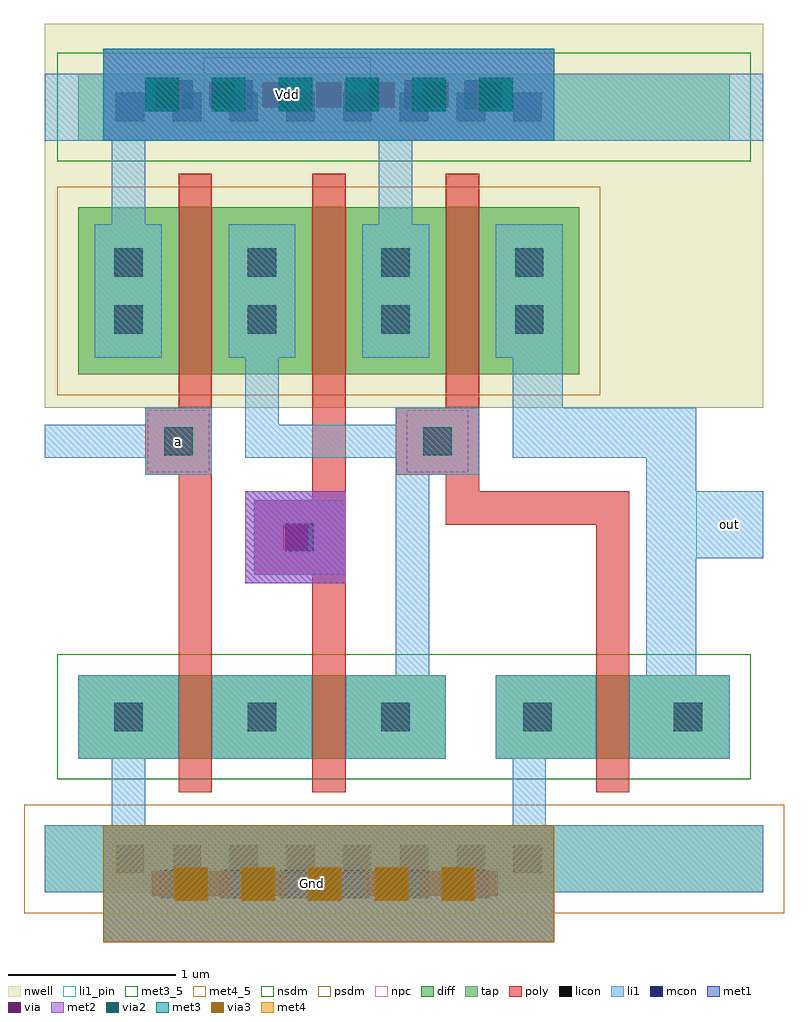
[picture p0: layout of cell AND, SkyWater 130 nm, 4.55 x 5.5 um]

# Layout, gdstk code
import gdstk
lib = gdstk.Library(unit=1e-6, precision=1e-09)
def R(c, l, rs):  # rectangles x0, y0, x1, y1
    for r in rs: c.add(gdstk.rectangle(r[:2], r[2:], *l))
def A(c, l, x, y, w, h, nx, ny, dx, dy):  # array of equal rectangles
    R(c, l, [(x+i*dx, y+j*dy, x+i*dx+w, y+j*dy+h) for i in range(nx) for j in range(ny)])
nwell = (64, 20)
diff = (65, 20)
tap = (65, 44)
poly = (66, 20)
licon = (66, 44)
li1_pin = (67, 16)
li1 = (67, 20)
mcon = (67, 44)
met1 = (68, 20)
via = (68, 44)
met2 = (69, 20)
via2 = (69, 44)
met3_5 = (70, 5)
met3 = (70, 20)
via3 = (70, 44)
met4_5 = (71, 5)
met4 = (71, 20)
nsdm = (93, 44)
psdm = (94, 20)
npc = (95, 20)

and_ = lib.new_cell('AND')
R(and_, nwell, [(-14.5,10.7,-10.2,13)])
R(and_, diff, [(-14.3,8.6,-12.1,9.1), (-11.8,8.6,-10.4,9.1), (-14.3,10.9,-11.3,11.9)])
R(and_, tap, [(-14.5,7.8,-10.2,8.2), (-14.3,12.3,-10.4,12.7)])
R(and_, poly, [(-13.7,8.4,-13.5,10.3), (-12.9,8.4,-12.7,9.7), (-11.2,8.4,-11,10), (-13.25,9.7,-12.7,10.15), (-12.1,10,-11,10.2), (-12.9,10.15,-12.7,12.1), (-12.1,10.2,-11.9,10.3), (-13.9,10.3,-13.5,10.7), (-12.4,10.3,-11.9,10.7), (-13.7,10.7,-13.5,12.1), (-12.1,10.7,-11.9,12.1)])
A(and_, licon, -14.075, 7.915, 0.17, 0.17, 8, 2, 0.34, 4.5)
A(and_, licon, -14.085, 8.765, 0.17, 0.17, 3, 1, 0.8, 0)
A(and_, licon, -14.085, 11.145, 0.17, 0.17, 4, 2, 0.8, 0.34)
R(and_, licon, [(-11.635,8.765,-11.465,8.935), (-10.735,8.765,-10.565,8.935), (-13.06,9.84,-12.89,10.01), (-13.785,10.415,-13.615,10.585), (-12.235,10.415,-12.065,10.585)])
R(and_, li1_pin, [(-10.6,9.8,-10.2,10.2), (-13.9,10.3,-13.5,10.7)])
A(and_, li1, -14.3, 8.6, 0.6, 0.5, 3, 1, 0.8, 0)
A(and_, li1, -14.2, 11, 0.4, 0.8, 4, 1, 0.8, 0)
R(and_, li1, [(-14.15,7.5,-11.45,7.8), (-14.5,7.8,-10.2,8.2), (-14.1,8.2,-13.9,8.6), (-11.7,8.2,-11.5,8.6), (-11.8,8.6,-11.2,9.1), (-11,8.6,-10.4,9.1), (-12.4,9.1,-12.2,10.3), (-10.9,9.1,-10.6,9.8), (-13.25,9.7,-12.7,10.15), (-10.9,9.8,-10.2,10.2), (-10.9,10.2,-10.6,10.4), (-13.9,10.3,-13.5,10.4), (-12.4,10.3,-11.9,10.4), (-14.5,10.4,-13.5,10.6), (-13.3,10.4,-11.9,10.6), (-11.7,10.4,-10.6,10.7), (-13.9,10.6,-13.5,10.7), (-13.3,10.6,-13.1,11), (-12.4,10.6,-11.9,10.7), (-11.7,10.7,-11.4,11), (-14.1,11.8,-13.9,12.3), (-12.5,11.8,-12.3,12.3), (-14.5,12.3,-10.2,12.7), (-14.15,12.7,-11.45,12.85)])
A(and_, mcon, -13.81, 7.765, 0.17, 0.17, 6, 1, 0.36, 0)
A(and_, mcon, -13.785, 12.49, 0.17, 0.17, 6, 1, 0.36, 0)
R(and_, mcon, [(-13.06,9.84,-12.89,10.01)])
R(and_, met1, [(-14.15,7.5,-11.45,8.2), (-13.3,9.65,-12.7,10.2), (-14.15,12.3,-11.45,12.85)])
A(and_, via, -13.86, 7.775, 0.15, 0.15, 7, 1, 0.32, 0)
A(and_, via, -13.835, 12.5, 0.15, 0.15, 7, 1, 0.32, 0)
R(and_, via, [(-13.075,9.85,-12.925,10)])
R(and_, met2, [(-14.15,7.5,-11.45,8.2), (-13.3,9.65,-12.7,10.2), (-14.15,12.3,-11.45,12.85)])
A(and_, via2, -13.725, 7.75, 0.2, 0.2, 5, 1, 0.4, 0)
A(and_, via2, -13.9, 12.475, 0.2, 0.2, 6, 1, 0.4, 0)
R(and_, met3_5, [(-13.55,12.35,-12.55,12.8)])
R(and_, met3, [(-14.15,7.5,-11.45,8.2), (-14.15,12.3,-11.45,12.85)])
A(and_, via3, -13.725, 7.75, 0.2, 0.2, 5, 1, 0.4, 0)
R(and_, met4_5, [(-13.5,7.6,-12.3,8.1)])
R(and_, met4, [(-14.15,7.5,-11.45,8.2)])
R(and_, nsdm, [(-14.425,8.475,-10.275,9.225), (-14.425,12.175,-10.275,12.825)])
R(and_, psdm, [(-14.625,7.675,-10.075,8.325), (-14.425,10.775,-11.175,12.025)])
R(and_, npc, [(-13.16,9.74,-12.79,10.11), (-13.885,10.315,-13.515,10.685), (-12.335,10.315,-11.965,10.685)])
and_.add(gdstk.Label('out', (-10.4,10), layer=67, texttype=5))
and_.add(gdstk.Label('a', (-13.7,10.5), layer=67, texttype=5))
and_.add(gdstk.Label('Gnd', (-12.9,7.85), layer=71, texttype=5))
and_.add(gdstk.Label('Vdd', (-13.05,12.575), layer=70, texttype=5))

lib.write_gds('AND.gds')
